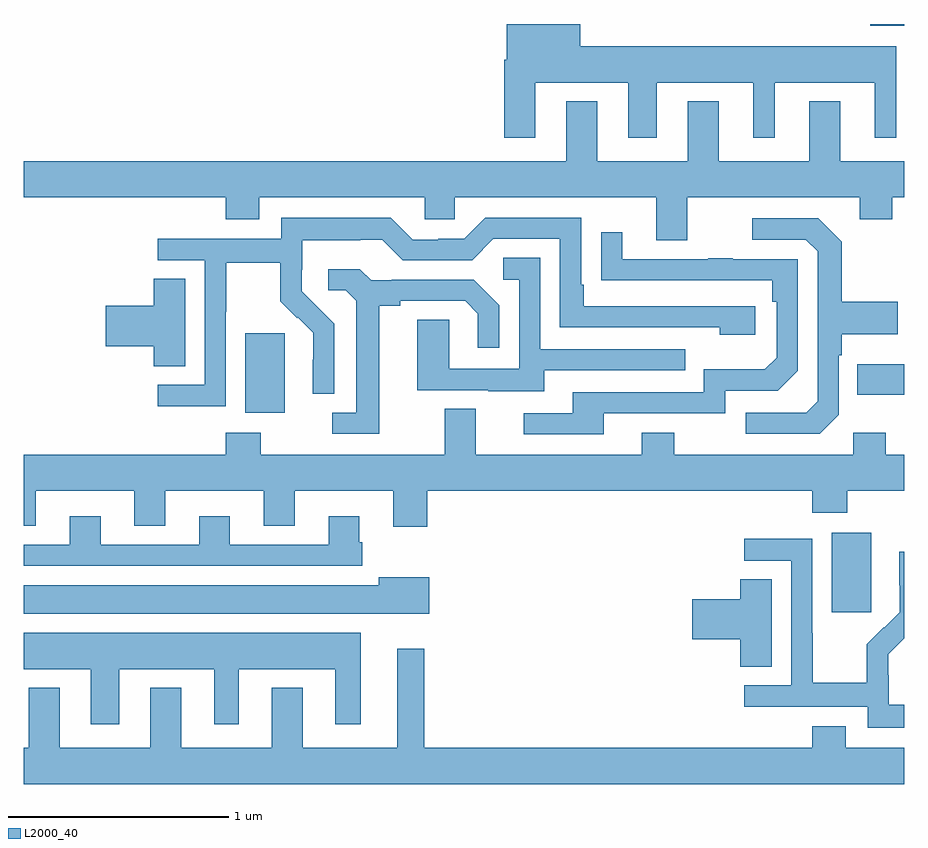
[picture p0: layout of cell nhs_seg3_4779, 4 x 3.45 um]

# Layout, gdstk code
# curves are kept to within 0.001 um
import gdstk
lib = gdstk.Library(unit=1e-6, precision=1e-09)
def R(c, l, rs):  # rectangles x0, y0, x1, y1
    for r in rs: c.add(gdstk.rectangle(r[:2], r[2:], *l))
def P(c, l, *ps):  # polygons
    for p in ps: c.add(gdstk.Polygon(p, *l))
L2000_40 = (2000, 40)

nhs_seg3_4779 = lib.new_cell('nhs_seg3_4779')
R(nhs_seg3_4779, L2000_40, [(372.671,669.729,372.85,670.09), (370.007,670.634,370.186,670.995), (372.787,670.715,373,670.855), (372.846,672.392,373,672.4)])
P(nhs_seg3_4779, L2000_40, [(371.323,672.134),(371.747,672.134),(371.747,671.883),(371.875,671.883),(371.875,672.134),(372.314,672.134),(372.314,671.883),(372.412,671.883),(372.412,672.134),(372.866,672.134),(372.866,671.883),(372.964,671.883),(372.964,672.298),(371.527,672.298),(371.527,672.4),(371.195,672.4),(371.195,672.238),(371.183,672.238),(371.183,671.883),(371.323,671.883)],
  [(372.013,671.612),(372.797,671.612),(372.797,671.513),(372.945,671.513),(372.945,671.612),(373,671.612),(373,671.776),(372.709,671.776),(372.709,672.049),(372.569,672.049),(372.569,671.776),(372.157,671.776),(372.157,672.049),(372.017,672.049),(372.017,671.776),(371.605,671.776),(371.605,672.049),(371.465,672.049),(371.465,671.776),(369,671.776),(369,671.612),(369.917,671.612),(369.917,671.513),(370.069,671.513),(370.069,671.612),(370.821,671.612),(370.821,671.514),(370.959,671.514),(370.959,671.612),(371.873,671.612),(371.873,671.418),(372.013,671.418)],
  [(369.918,671.092),(369.921,671.092),(369.921,671.316),(370.165,671.316),(370.165,671.141),(370.242,671.064),(370.245,671.067),(370.316,670.997),(370.316,670.874),(370.314,670.874),(370.314,670.72),(370.41,670.72),(370.41,671.038),(370.264,671.186),(370.264,671.283),(370.266,671.283),(370.266,671.417),(370.529,671.417),(370.529,671.421),(370.629,671.421),(370.722,671.328),(371.037,671.328),(371.133,671.424),(371.436,671.424),(371.436,671.022),(372.161,671.022),(372.161,670.988),(372.322,670.988),(372.322,671.118),(371.545,671.118),(371.545,671.215),(371.532,671.215),(371.532,671.52),(371.097,671.52),(371.001,671.424),(370.883,671.424),(370.883,671.421),(370.767,671.421),(370.667,671.521),(370.17,671.521),(370.17,671.424),(369.609,671.424),(369.609,671.328),(369.822,671.328),(369.822,670.761),(369.609,670.761),(369.609,670.663),(369.918,670.663)],
  [(372.702,670.626),(372.702,670.895),(372.715,670.895),(372.715,670.991),(372.971,670.991),(372.971,671.139),(372.715,671.139),(372.715,671.411),(372.609,671.517),(372.309,671.517),(372.309,671.421),(372.552,671.421),(372.606,671.367),(372.606,670.686),(372.555,670.635),(372.279,670.635),(372.279,670.539),(372.615,670.539)],
  [(371.635,670.632),(372.186,670.632),(372.186,670.734),(372.426,670.734),(372.516,670.824),(372.516,671.331),(372.221,671.331),(372.221,671.336),(372.109,671.336),(372.109,671.331),(371.719,671.331),(371.719,671.455),(371.623,671.455),(371.623,671.236),(372.4,671.235),(372.4,671.138),(372.42,671.138),(372.42,670.884),(372.367,670.831),(372.09,670.831),(372.09,670.728),(371.495,670.728),(371.495,670.632),(371.271,670.632),(371.271,670.536),(371.635,670.536)],
  [(371.365,670.827),(372.005,670.827),(372.005,670.923),(371.346,670.923),(371.346,671.339),(371.178,671.339),(371.178,671.238),(371.25,671.238),(371.25,670.833),(370.932,670.833),(370.932,671.057),(370.787,671.057),(370.787,670.737),(371.111,670.737),(371.111,670.733),(371.365,670.733)],
  [(370.615,671.12),(370.711,671.12),(370.711,671.142),(371.006,671.142),(371.063,671.085),(371.063,670.929),(371.16,670.929),(371.16,671.122),(371.044,671.238),(370.672,671.238),(370.672,671.235),(370.578,671.235),(370.526,671.287),(370.383,671.287),(370.383,671.19),(370.464,671.19),(370.511,671.143),(370.511,670.635),(370.401,670.635),(370.401,670.539),(370.615,670.539)],
  [(369.733,671.243),(369.59,671.243),(369.59,671.12),(369.372,671.12),(369.372,670.937),(369.59,670.937),(369.59,670.846),(369.733,670.846)],
  [(370.832,670.28),(372.581,670.28),(372.581,670.181),(372.741,670.181),(372.741,670.28),(373,670.28),(373,670.444),(372.915,670.444),(372.915,670.543),(372.768,670.543),(372.768,670.444),(371.955,670.444),(371.955,670.543),(371.807,670.543),(371.807,670.444),(371.053,670.444),(371.053,670.652),(370.913,670.652),(370.913,670.444),(370.077,670.444),(370.077,670.543),(369.917,670.543),(369.917,670.444),(369,670.444),(369,670.12),(369.055,670.12),(369.055,670.28),(369.503,670.28),(369.503,670.12),(369.643,670.12),(369.643,670.28),(370.091,670.28),(370.091,670.12),(370.231,670.12),(370.231,670.28),(370.679,670.28),(370.679,670.116),(370.832,670.116)],
  [(370.538,670.047),(370.525,670.047),(370.525,670.165),(370.385,670.165),(370.385,670.035),(369.937,670.035),(369.937,670.165),(369.797,670.165),(369.797,670.035),(369.349,670.035),(369.349,670.165),(369.209,670.165),(369.209,670.035),(369,670.035),(369,669.939),(370.538,669.939)],
  [(373,669.307),(372.93,669.307),(372.93,669.441),(372.928,669.441),(372.928,669.538),(373,669.61),(373,670.004),(372.978,670.004),(372.978,669.85),(372.98,669.85),(372.98,669.728),(372.909,669.657),(372.906,669.66),(372.829,669.583),(372.829,669.409),(372.585,669.409),(372.585,669.632),(372.582,669.632),(372.582,670.062),(372.273,670.062),(372.273,669.963),(372.486,669.963),(372.486,669.396),(372.273,669.396),(372.273,669.3),(372.834,669.3),(372.834,669.203),(373,669.203)],
  [(370.843,669.886),(370.613,669.886),(370.613,669.85),(369,669.85),(369,669.722),(370.843,669.722)],
  [(372.397,669.878),(372.254,669.878),(372.254,669.788),(372.036,669.788),(372.036,669.605),(372.254,669.605),(372.254,669.481),(372.397,669.481)],
  [(369.433,669.47),(369.866,669.47),(369.866,669.219),(369.976,669.219),(369.976,669.47),(370.415,669.47),(370.415,669.219),(370.531,669.219),(370.531,669.634),(369,669.634),(369,669.47),(369.305,669.47),(369.305,669.219),(369.433,669.219)],
  [(373,669.112),(372.733,669.112),(372.733,669.211),(372.581,669.211),(372.581,669.112),(370.819,669.112),(370.819,669.562),(370.697,669.562),(370.697,669.112),(370.267,669.112),(370.267,669.385),(370.127,669.385),(370.127,669.112),(369.715,669.112),(369.715,669.385),(369.575,669.385),(369.575,669.112),(369.163,669.112),(369.163,669.385),(369.023,669.385),(369.023,669.112),(369,669.112),(369,668.948),(373,668.948)])

lib.write_gds('nhs_seg3_4779.gds')
